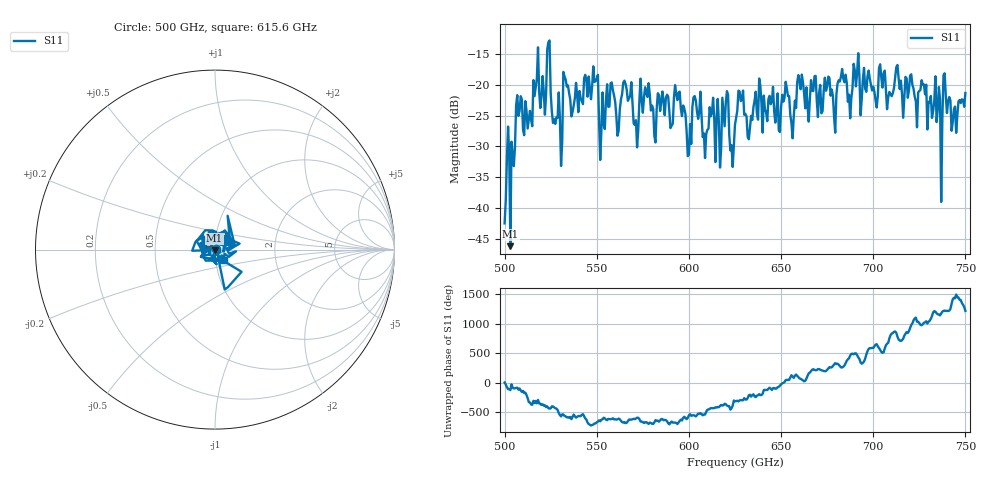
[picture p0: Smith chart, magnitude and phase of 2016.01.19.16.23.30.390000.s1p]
!Created with skrf (http://scikit-rf.org).
# GHz S RI R 50.0
!freq ReS11 ImS11
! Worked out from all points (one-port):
!   401 points, 500 GHz to 750 GHz, reference 50 ohm
!   lowest |S11| = -46.2 dB at 503.1 GHz (marker M1), VSWR 1.01, Z = 49.7 - j0.402 ohm
!   |S11| at or under -10 dB: start of sweep to end of sweep
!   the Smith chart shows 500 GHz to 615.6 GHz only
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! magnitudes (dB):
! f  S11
! 500 GHz  -42.5
! 503.1 GHz  -46.2
! 507.5 GHz  -25.0
! 513.8 GHz  -24.2
! 523.8 GHz  -13.1
! 526.9 GHz  -25.6
! 531.2 GHz  -29.2
! 533.1 GHz  -19.2
! 549.4 GHz  -19.4
! 552.5 GHz  -27.5
! 556.9 GHz  -23.5
! 562.5 GHz  -24.0
! 593.8 GHz  -22.5
! 600 GHz  -31.4
! 603.1 GHz  -21.8
! 608.8 GHz  -31.9
! 620 GHz  -22.9
! 625 GHz  -26.4
! 628.1 GHz  -22.7
! 633.1 GHz  -26.9
! 637.5 GHz  -25.7
! 656.2 GHz  -28.7
! 660 GHz  -19.5
! 687.5 GHz  -25.4
! 690.6 GHz  -20.3
! 718.8 GHz  -22.1
! 735.6 GHz  -20.4
! 750 GHz  -21.3
